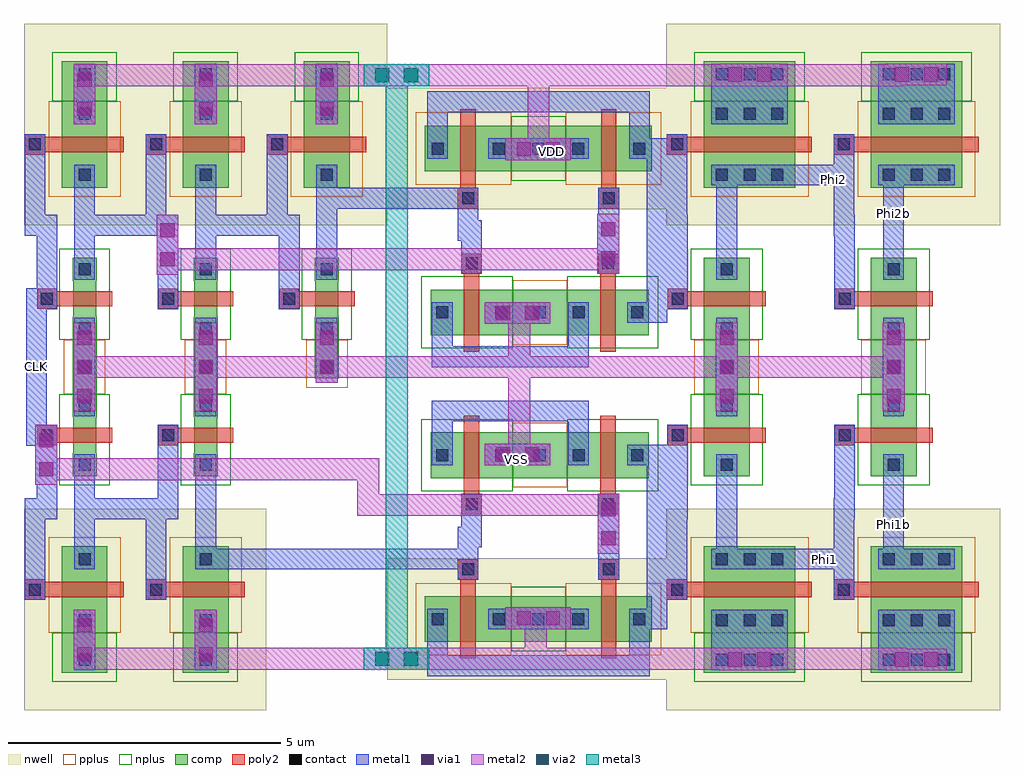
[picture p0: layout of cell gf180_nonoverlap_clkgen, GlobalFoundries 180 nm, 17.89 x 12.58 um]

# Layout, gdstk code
from math import pi, radians
import gdstk
lib = gdstk.Library(unit=1e-6, precision=1e-09)
def R(c, l, rs):  # rectangles x0, y0, x1, y1
    for r in rs: c.add(gdstk.rectangle(r[:2], r[2:], *l))
def A(c, l, x, y, w, h, nx, ny, dx, dy):  # array of equal rectangles
    R(c, l, [(x+i*dx, y+j*dy, x+i*dx+w, y+j*dy+h) for i in range(nx) for j in range(ny)])
nwell = (21, 0)
comp = (22, 0)
poly2 = (30, 0)
pplus = (31, 0)
nplus = (32, 0)
contact = (33, 0)
metal1 = (34, 0)
via1 = (35, 0)
metal2 = (36, 0)
via2 = (38, 0)
metal3 = (42, 0)

nfet_1_2 = lib.new_cell('nfet$1$2')
R(nfet_1_2, comp, [(-0.42,0,0,0.84), (0,0,0.66,0.84), (0.66,0,1.08,0.84), (1.08,0,1.79,0.84)])
R(nfet_1_2, poly2, [(0.15,-0.66,0.51,-0.3), (0.19,-0.3,0.47,1.14)])
R(nfet_1_2, pplus, [(1.08,-0.17,1.96,1.01)])
R(nfet_1_2, nplus, [(-0.59,-0.24,1.08,1.08)])
R(nfet_1_2, contact, [(0.22,-0.59,0.44,-0.37), (-0.32,0.31,-0.1,0.53), (0.76,0.31,0.98,0.53), (1.47,0.31,1.69,0.53)])
R(nfet_1_2, metal1, [(0.14,-0.67,0.52,-0.29), (-0.4,0.23,-0.02,0.61), (0.68,0.23,1.06,0.61), (1.39,0.23,1.77,0.61)])

pfet_6 = lib.new_cell('pfet$6')
R(pfet_6, nwell, [(-1.15,-0.69,2.54,1.53)])
R(pfet_6, comp, [(-0.46,0,0,0.84), (0,0,0.66,0.84), (0.66,0,1.12,0.84), (1.12,0,1.85,0.84)])
R(pfet_6, poly2, [(0.14,-0.68,0.52,-0.3), (0.19,-0.3,0.47,1.14)])
R(pfet_6, pplus, [(-0.63,-0.24,1.12,1.08)])
R(pfet_6, nplus, [(1.12,-0.17,2.02,1.01)])
R(pfet_6, contact, [(0.22,-0.6,0.44,-0.38), (-0.34,0.31,-0.12,0.53), (0.78,0.31,1,0.53), (1.51,0.31,1.73,0.53)])
R(pfet_6, metal1, [(0.14,-0.68,0.52,-0.3), (-0.42,0.23,-0.04,0.61), (0.7,0.23,1.08,0.61), (1.43,0.23,1.81,0.61)])

pfet_1_2 = lib.new_cell('pfet$1$2')
R(pfet_1_2, nwell, [(-1.15,-0.69,2.54,1.53)])
R(pfet_1_2, comp, [(-0.46,0,0,0.84), (0,0,0.66,0.84), (0.66,0,1.12,0.84), (1.12,0,1.85,0.84)])
R(pfet_1_2, poly2, [(0.19,-0.3,0.47,1.14), (0.14,1.14,0.52,1.52)])
R(pfet_1_2, pplus, [(-0.63,-0.24,1.12,1.08)])
R(pfet_1_2, nplus, [(1.12,-0.17,2.02,1.01)])
R(pfet_1_2, contact, [(-0.34,0.31,-0.12,0.53), (0.78,0.31,1,0.53), (1.51,0.31,1.73,0.53), (0.22,1.22,0.44,1.44)])
R(pfet_1_2, metal1, [(-0.42,0.23,-0.04,0.61), (0.7,0.23,1.08,0.61), (1.43,0.23,1.81,0.61), (0.14,1.14,0.52,1.52)])

nfet_6 = lib.new_cell('nfet$6')
R(nfet_6, comp, [(-0.42,0,0,0.84), (0,0,0.66,0.84), (0.66,0,1.08,0.84), (1.08,0,1.79,0.84)])
R(nfet_6, poly2, [(0.19,-0.3,0.47,1.14), (0.15,1.14,0.51,1.5)])
R(nfet_6, pplus, [(1.08,-0.17,1.96,1.01)])
R(nfet_6, nplus, [(-0.59,-0.24,1.08,1.08)])
R(nfet_6, contact, [(-0.32,0.31,-0.1,0.53), (0.76,0.31,0.98,0.53), (1.47,0.31,1.69,0.53), (0.22,1.21,0.44,1.43)])
R(nfet_6, metal1, [(-0.4,0.23,-0.02,0.61), (0.68,0.23,1.06,0.61), (1.39,0.23,1.77,0.61), (0.14,1.13,0.52,1.51)])

via_dev_6 = lib.new_cell('via_dev$6')
R(via_dev_6, metal1, [(0,0,1.2,0.4)])
R(via_dev_6, via1, [(0.205,0.07,0.465,0.33), (0.735,0.07,0.995,0.33)])
R(via_dev_6, metal2, [(0,0,1.2,0.4)])

gf180_clk_nand2 = lib.new_cell('gf180_clk_nand2')
gf180_clk_nand2.add(gdstk.FlexPath([(3.22,-1.47),(2.51,-1.47)], 0.38, ends="flush", simple_path=True, layer=34, datatype=0))  # metal1
gf180_clk_nand2.add(gdstk.FlexPath([(3.93,-1.47),(3.93,-2.28),(1.43,-2.28),(1.43,-1.47)], 0.38, ends="flush", simple_path=True, layer=34, datatype=0))  # metal1
gf180_clk_nand2.add(gdstk.FlexPath([(2.465,1.535),(3.925,1.535)], 0.38, ends="flush", simple_path=True, layer=34, datatype=0))  # metal1
gf180_clk_nand2.add(gdstk.FlexPath([(5.095,1.535),(5.37,1.535),(5.37,-1.47),(5.01,-1.47)], 0.38, ends="flush", simple_path=True, layer=34, datatype=0))  # metal1
gf180_clk_nand2.add(gdstk.FlexPath([(1.97,-0.57),(1.97,0.03),(1.905,0.03),(1.905,0.625)], 0.38, ends="flush", simple_path=True, layer=34, datatype=0))  # metal1
gf180_clk_nand2.add(gdstk.FlexPath([(4.485,0.625),(4.485,0.01),(4.47,0.01),(4.47,-0.57)], 0.38, ends="flush", simple_path=True, layer=34, datatype=0))  # metal1
gf180_clk_nand2.add(gdstk.FlexPath([(1.345,1.535),(1.345,2.39),(5.045,2.39),(5.045,1.535)], 0.38, ends="flush", simple_path=True, layer=34, datatype=0))  # metal1
gf180_clk_nand2.add(gdstk.Reference(nfet_1_2, (1.64,-1.05), x_reflection=True))
gf180_clk_nand2.add(gdstk.Reference(pfet_6, (4.815,1.115), rotation=pi, x_reflection=True))
gf180_clk_nand2.add(gdstk.Reference(pfet_1_2, (1.575,1.955), x_reflection=True))
gf180_clk_nand2.add(gdstk.Reference(nfet_6, (4.8,-1.89), rotation=pi, x_reflection=True))
gf180_clk_nand2.add(gdstk.Reference(via_dev_6, (2.59,1.32)))
gf180_clk_nand2.add(gdstk.Reference(via_dev_6, (2.21,-1.68)))
gf180_clk_nand2.add(gdstk.Label('B', (1.915,-0.125), layer=34, texttype=10))
gf180_clk_nand2.add(gdstk.Label('Y', (5.345,-0.315), layer=34, texttype=10))
gf180_clk_nand2.add(gdstk.Label('VDD', (2.865,1.485), layer=34, texttype=10))
gf180_clk_nand2.add(gdstk.Label('A', (4.4,-0.125), layer=34, texttype=10))
gf180_clk_nand2.add(gdstk.Label('VSS', (2.865,-1.57), layer=34, texttype=10))

pfet_7 = lib.new_cell('pfet$7')
R(pfet_7, nwell, [(-1.15,-0.69,2.54,1.53)])
R(pfet_7, comp, [(-0.46,0,0,0.84), (0,0,0.66,0.84), (0.66,0,1.12,0.84), (1.12,0,1.85,0.84)])
R(pfet_7, poly2, [(0.14,-0.68,0.52,-0.3), (0.19,-0.3,0.47,1.14)])
R(pfet_7, pplus, [(-0.63,-0.24,1.12,1.08)])
R(pfet_7, nplus, [(1.12,-0.17,2.02,1.01)])
R(pfet_7, contact, [(0.22,-0.6,0.44,-0.38), (-0.34,0.31,-0.12,0.53), (0.78,0.31,1,0.53), (1.51,0.31,1.73,0.53)])
R(pfet_7, metal1, [(0.14,-0.68,0.52,-0.3), (-0.42,0.23,-0.04,0.61), (0.7,0.23,1.08,0.61), (1.43,0.23,1.81,0.61)])

nfet_7 = lib.new_cell('nfet$7')
R(nfet_7, comp, [(-0.42,-0.01,0,0.43), (0.66,-0.01,1.08,0.43), (1.08,-0.01,1.79,0.43), (0,0,0.66,0.42)])
R(nfet_7, poly2, [(0.19,-0.3,0.47,0.72), (0.15,0.72,0.51,1.08)])
R(nfet_7, pplus, [(1.08,-0.17,1.96,0.59)])
R(nfet_7, nplus, [(-0.59,-0.25,1.08,0.67)])
R(nfet_7, contact, [(-0.32,0.1,-0.1,0.32), (0.76,0.1,0.98,0.32), (1.47,0.1,1.69,0.32), (0.22,0.79,0.44,1.01)])
R(nfet_7, metal1, [(-0.4,0.02,-0.02,0.4), (0.68,0.02,1.06,0.4), (1.39,0.02,1.77,0.4), (0.14,0.71,0.52,1.09)])

via_dev_9_1 = lib.new_cell('via_dev$9$1')
R(via_dev_9_1, metal1, [(0,0,0.4,1.1)])
R(via_dev_9_1, via1, [(0.07,0.155,0.33,0.415), (0.07,0.685,0.33,0.945)])
R(via_dev_9_1, metal2, [(0,0,0.4,1.1)])

gf180_clk_inv_1 = lib.new_cell('gf180_clk_inv_1')
gf180_clk_inv_1.add(gdstk.FlexPath([(0.8,-2.305),(0.8,-3.015)], 0.38, ends="flush", simple_path=True, layer=34, datatype=0))  # metal1
gf180_clk_inv_1.add(gdstk.FlexPath([(0.8,0.61),(0.8,-1.1)], 0.38, ends="flush", simple_path=True, layer=34, datatype=0))  # metal1
gf180_clk_inv_1.add(gdstk.FlexPath([(0.8,1.73),(0.8,2.46)], 0.38, ends="flush", simple_path=True, layer=34, datatype=0))  # metal1
gf180_clk_inv_1.add(gdstk.FlexPath([(0.11,-1.47),(0.11,-0.31),(-0.11,-0.31),(-0.11,1.36)], 0.38, ends="flush", simple_path=True, layer=34, datatype=0))  # metal1
gf180_clk_inv_1.add(gdstk.Reference(pfet_7, (0.38,0.84), rotation=pi/2, x_reflection=True))
gf180_clk_inv_1.add(gdstk.Reference(nfet_7, (1.01,-1.33), rotation=3*pi/2, x_reflection=True))
gf180_clk_inv_1.add(gdstk.Reference(via_dev_9_1, (0.6,1.54)))
gf180_clk_inv_1.add(gdstk.Reference(via_dev_9_1, (0.6,-3.195)))
gf180_clk_inv_1.add(gdstk.Label('VSS', (0.85,-2.775), layer=34, texttype=10))
gf180_clk_inv_1.add(gdstk.Label('OUT', (0.765,-0.655), layer=34, texttype=10))
gf180_clk_inv_1.add(gdstk.Label('IN', (0.125,-0.455), layer=34, texttype=10))
gf180_clk_inv_1.add(gdstk.Label('VDD', (0.8,2.1), layer=34, texttype=10))

via_dev_32 = lib.new_cell('via_dev$32')
R(via_dev_32, metal1, [(0,0,1.1,0.4)])
R(via_dev_32, via1, [(0.155,0.07,0.415,0.33), (0.685,0.07,0.945,0.33)])
R(via_dev_32, metal2, [(0,0,1.1,0.4)])

via_dev_2 = lib.new_cell('via_dev$2')
R(via_dev_2, metal1, [(0,0,0.4,1.1)])
R(via_dev_2, via1, [(0.07,0.155,0.33,0.415), (0.07,0.685,0.33,0.945)])
R(via_dev_2, metal2, [(0,0,0.4,1.1)])

pfet_4 = lib.new_cell('pfet$4')
R(pfet_4, nwell, [(-1.15,-0.69,2.54,2.37)])
R(pfet_4, comp, [(-0.46,0,0,1.68), (0,0,0.66,1.68), (0.66,0,1.12,1.68), (1.12,0,1.85,1.68)])
R(pfet_4, poly2, [(0.14,-0.68,0.52,-0.3), (0.19,-0.3,0.47,1.98)])
R(pfet_4, pplus, [(-0.63,-0.24,1.12,1.92)])
R(pfet_4, nplus, [(1.12,-0.17,2.02,1.85)])
A(pfet_4, contact, -0.34, 0.22, 0.22, 0.22, 1, 3, 0, 0.51)
A(pfet_4, contact, 0.78, 0.22, 0.22, 0.22, 1, 3, 0, 0.51)
A(pfet_4, contact, 1.51, 0.22, 0.22, 0.22, 1, 3, 0, 0.51)
R(pfet_4, contact, [(0.22,-0.6,0.44,-0.38)])
R(pfet_4, metal1, [(0.14,-0.68,0.52,-0.3), (-0.42,0.14,-0.04,1.54), (0.7,0.14,1.08,1.54), (1.43,0.14,1.81,1.54)])

nfet_2 = lib.new_cell('nfet$2')
R(nfet_2, comp, [(-0.42,0,0,0.84), (0,0,0.66,0.84), (0.66,0,1.08,0.84), (1.08,0,1.79,0.84)])
R(nfet_2, poly2, [(0.19,-0.3,0.47,1.14), (0.15,1.14,0.51,1.5)])
R(nfet_2, pplus, [(1.08,-0.17,1.96,1.01)])
R(nfet_2, nplus, [(-0.59,-0.24,1.08,1.08)])
R(nfet_2, contact, [(-0.32,0.31,-0.1,0.53), (0.76,0.31,0.98,0.53), (1.47,0.31,1.69,0.53), (0.22,1.21,0.44,1.43)])
R(nfet_2, metal1, [(-0.4,0.23,-0.02,0.61), (0.68,0.23,1.06,0.61), (1.39,0.23,1.77,0.61), (0.14,1.13,0.52,1.51)])

via_dev_8_1 = lib.new_cell('via_dev$8$1')
R(via_dev_8_1, metal1, [(0,0,0.4,1.1)])
R(via_dev_8_1, via1, [(0.07,0.155,0.33,0.415), (0.07,0.685,0.33,0.945)])
R(via_dev_8_1, metal2, [(0,0,0.4,1.1)])

gf180_clk_inv_2 = lib.new_cell('gf180_clk_inv_2')
R(gf180_clk_inv_2, metal1, [(0.52,1.85,1.92,2.28)])
gf180_clk_inv_2.add(gdstk.FlexPath([(0.8,-2.305),(0.8,-3.015)], 0.38, ends="flush", simple_path=True, layer=34, datatype=0))  # metal1
gf180_clk_inv_2.add(gdstk.FlexPath([(0.8,0.61),(0.8,-1.1)], 0.38, ends="flush", simple_path=True, layer=34, datatype=0))  # metal1
gf180_clk_inv_2.add(gdstk.FlexPath([(-0.1,-1.47),(-0.1,-0.31),(-0.11,-0.31),(-0.11,1.36)], 0.38, ends="flush", simple_path=True, layer=34, datatype=0))  # metal1
gf180_clk_inv_2.add(gdstk.Reference(pfet_4, (0.38,0.84), rotation=pi/2, x_reflection=True))
gf180_clk_inv_2.add(gdstk.Reference(nfet_2, (1.22,-1.33), rotation=3*pi/2, x_reflection=True))
gf180_clk_inv_2.add(gdstk.Reference(via_dev_8_1, (0.6,-3.195)))
gf180_clk_inv_2.add(gdstk.Reference(via_dev_8_1, (0.67,2.65), rotation=3*pi/2))
gf180_clk_inv_2.add(gdstk.Label('VSS', (0.85,-2.855), layer=34, texttype=10))
gf180_clk_inv_2.add(gdstk.Label('IN', (0.125,-0.455), layer=34, texttype=10))
gf180_clk_inv_2.add(gdstk.Label('OUT', (0.765,-0.655), layer=34, texttype=10))
gf180_clk_inv_2.add(gdstk.Label('VDD', (0.8,2.1), layer=34, texttype=10))

via_dev_7 = lib.new_cell('via_dev$7')
R(via_dev_7, metal2, [(0,0,1.2,0.4)])
R(via_dev_7, via2, [(0.205,0.07,0.465,0.33), (0.735,0.07,0.995,0.33)])
R(via_dev_7, metal3, [(0,0,1.2,0.4)])

gf180_nonoverlap_clkgen = lib.new_cell('gf180_nonoverlap_clkgen')
gf180_nonoverlap_clkgen.add(gdstk.FlexPath([(1.14,-0.31),(2.45,-0.31)], 0.38, ends="flush", simple_path=True, layer=34, datatype=0))  # metal1
gf180_nonoverlap_clkgen.add(gdstk.FlexPath([(3.36,-0.31),(4.67,-0.31)], 0.38, ends="flush", simple_path=True, layer=34, datatype=0))  # metal1
gf180_nonoverlap_clkgen.add(gdstk.FlexPath([(1.14,-5.51),(2.45,-5.51)], 0.38, ends="flush", simple_path=True, layer=34, datatype=0))  # metal1
gf180_nonoverlap_clkgen.add(gdstk.FlexPath([(8.17,0.185),(5.58,0.185)], 0.38, ends="flush", simple_path=True, layer=34, datatype=0))  # metal1
gf180_nonoverlap_clkgen.add(gdstk.FlexPath([(0.45,-1.66),(0.26,-1.66),(0.26,-4.16),(0.45,-4.16)], 0.38, ends="flush", simple_path=True, layer=34, datatype=0))  # metal1
gf180_nonoverlap_clkgen.add(gdstk.FlexPath([(3.36,-6.43),(8.17,-6.43)], 0.38, ends="flush", simple_path=True, layer=34, datatype=0))  # metal1
gf180_nonoverlap_clkgen.add(gdstk.FlexPath([(13.84,0.61),(15.06,0.61)], 0.38, ends="flush", simple_path=True, layer=34, datatype=0))  # metal1
gf180_nonoverlap_clkgen.add(gdstk.FlexPath([(13.84,-6.43),(15.06,-6.43)], 0.38, ends="flush", simple_path=True, layer=34, datatype=0))  # metal1
gf180_nonoverlap_clkgen.add(gdstk.FlexPath([(2.66,-0.935),(10.925,-0.935)], 0.4, ends="flush", simple_path=True, layer=36, datatype=0))  # metal2
gf180_nonoverlap_clkgen.add(gdstk.FlexPath([(0.44,-4.785),(6.34,-4.785),(6.34,-5.44),(10.76,-5.44)], 0.4, ends="flush", simple_path=True, layer=36, datatype=0))  # metal2
gf180_nonoverlap_clkgen.add(gdstk.FlexPath([(1.14,2.44),(16.125,2.44)], 0.4, ends="flush", simple_path=True, layer=36, datatype=0))  # metal2
gf180_nonoverlap_clkgen.add(gdstk.FlexPath([(1.14,-8.26),(16.18,-8.26)], 0.4, ends="flush", simple_path=True, layer=36, datatype=0))  # metal2
gf180_nonoverlap_clkgen.add(gdstk.FlexPath([(9.46,1.095),(9.46,2.44)], 0.4, ends="flush", simple_path=True, layer=36, datatype=0))  # metal2
gf180_nonoverlap_clkgen.add(gdstk.FlexPath([(9.41,-7.53),(9.41,-8.385)], 0.4, ends="flush", simple_path=True, layer=36, datatype=0))  # metal2
gf180_nonoverlap_clkgen.add(gdstk.FlexPath([(1.14,-2.91),(15.97,-2.91)], 0.4, ends="flush", simple_path=True, layer=36, datatype=0))  # metal2
gf180_nonoverlap_clkgen.add(gdstk.FlexPath([(9.105,-1.91),(9.105,-4.515)], 0.4, ends="flush", simple_path=True, layer=36, datatype=0))  # metal2
gf180_nonoverlap_clkgen.add(gdstk.FlexPath([(6.86,-8.26),(6.86,2.44)], 0.4, ends="flush", simple_path=True, layer=42, datatype=0))  # metal3
gf180_nonoverlap_clkgen.add(gdstk.Reference(gf180_clk_nand2, (6.265,-0.44)))
gf180_nonoverlap_clkgen.add(gdstk.Reference(gf180_clk_inv_1, (2.56,0)))
gf180_nonoverlap_clkgen.add(gdstk.Reference(gf180_clk_inv_1, (4.78,0)))
gf180_nonoverlap_clkgen.add(gdstk.Reference(gf180_clk_inv_1, (2.56,-5.82), x_reflection=True))
gf180_nonoverlap_clkgen.add(gdstk.Reference(gf180_clk_inv_1, (0.34,-5.82), x_reflection=True))
gf180_nonoverlap_clkgen.add(gdstk.Reference(via_dev_32, (2.46,-0.12), rotation=3*pi/2))
gf180_nonoverlap_clkgen.add(gdstk.Reference(gf180_clk_inv_1, (0.34,0)))
gf180_nonoverlap_clkgen.add(gdstk.Reference(via_dev_2, (10.54,-1.2)))
gf180_nonoverlap_clkgen.add(gdstk.Reference(gf180_clk_nand2, (6.265,-5.995), x_reflection=True))
gf180_nonoverlap_clkgen.add(gdstk.Reference(via_dev_2, (0.24,-5.07)))
gf180_nonoverlap_clkgen.add(gdstk.Reference(via_dev_2, (10.545,-6.335)))
gf180_nonoverlap_clkgen.add(gdstk.Reference(gf180_clk_inv_2, (12.11,0)))
gf180_nonoverlap_clkgen.add(gdstk.Reference(gf180_clk_inv_2, (15.17,0)))
gf180_nonoverlap_clkgen.add(gdstk.Reference(gf180_clk_inv_2, (12.11,-5.82), x_reflection=True))
gf180_nonoverlap_clkgen.add(gdstk.Reference(gf180_clk_inv_2, (15.17,-5.82), x_reflection=True))
gf180_nonoverlap_clkgen.add(gdstk.Reference(via_dev_7, (6.26,2.24)))
gf180_nonoverlap_clkgen.add(gdstk.Reference(via_dev_7, (6.26,-8.46)))
gf180_nonoverlap_clkgen.add(gdstk.Label('VDD', (9.69,1.04), layer=34, texttype=10))
gf180_nonoverlap_clkgen.add(gdstk.Label('VSS', (9.06,-4.61), layer=34, texttype=10))
gf180_nonoverlap_clkgen.add(gdstk.Label('CLK', (0.26,-2.9), layer=34, texttype=10))
gf180_nonoverlap_clkgen.add(gdstk.Label('Phi1', (14.7,-6.43), layer=34, texttype=10))
gf180_nonoverlap_clkgen.add(gdstk.Label('Phi1b', (15.97,-5.8), layer=34, texttype=10))
gf180_nonoverlap_clkgen.add(gdstk.Label('Phi2', (14.87,0.52), layer=34, texttype=10))
gf180_nonoverlap_clkgen.add(gdstk.Label('Phi2b', (15.97,-0.1), layer=34, texttype=10))

lib.write_gds('gf180_nonoverlap_clkgen.gds')
